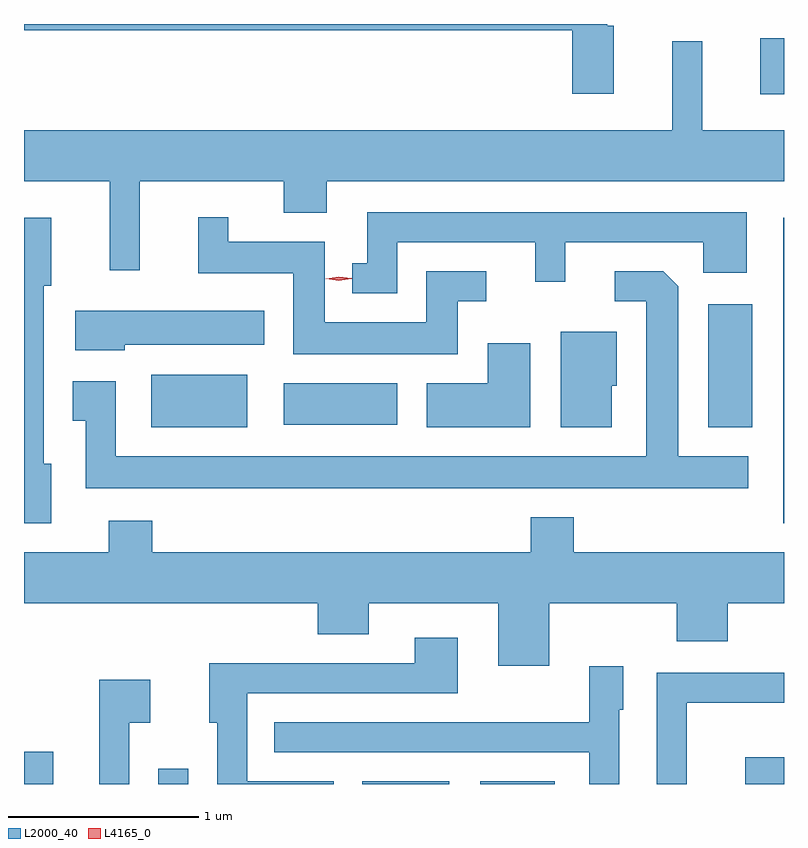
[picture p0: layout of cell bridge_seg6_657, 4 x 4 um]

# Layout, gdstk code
import gdstk
lib = gdstk.Library(unit=1e-6, precision=1e-09)
def R(c, l, rs):  # rectangles x0, y0, x1, y1
    for r in rs: c.add(gdstk.rectangle(r[:2], r[2:], *l))
def P(c, l, *ps):  # polygons
    for p in ps: c.add(gdstk.Polygon(p, *l))
L2000_40 = (2000, 40)
L4165_0 = (4165, 0)

bridge_seg6_657 = lib.new_cell('bridge_seg6_657')
R(bridge_seg6_657, L2000_40, [(303.795,1542.424,303.949,1542.594), (304.501,1542.424,304.659,1542.503), (305.576,1542.424,306.034,1542.439), (306.196,1542.424,306.589,1542.439), (307.591,1542.424,307.795,1542.564), (307.791,1543.796,307.795,1545.404), (304.466,1544.301,304.969,1544.579), (307.396,1544.301,307.629,1544.949), (305.161,1544.316,305.759,1544.534), (307.671,1546.053,307.795,1546.349)])
P(bridge_seg6_657, L2000_40, [(306.899,1546.414),(306.864,1546.414),(306.864,1546.424),(303.795,1546.424),(303.795,1546.391),(306.681,1546.391),(306.681,1546.056),(306.899,1546.056)],
  [(304.404,1545.596),(305.161,1545.596),(305.161,1545.431),(305.389,1545.431),(305.389,1545.596),(307.795,1545.596),(307.795,1545.864),(307.364,1545.864),(307.364,1546.333),(307.206,1546.333),(307.206,1545.864),(303.795,1545.864),(303.795,1545.596),(304.246,1545.596),(304.246,1545.128),(304.404,1545.128)],
  [(305.759,1545.276),(306.486,1545.276),(306.486,1545.068),(306.644,1545.068),(306.644,1545.276),(307.371,1545.276),(307.371,1545.116),(307.599,1545.116),(307.599,1545.434),(305.601,1545.434),(305.601,1545.164),(305.523,1545.164),(305.523,1545.006),(305.759,1545.006)],
  [(306.079,1544.966),(306.228,1544.966),(306.228,1545.124),(305.911,1545.124),(305.911,1544.854),(305.379,1544.854),(305.379,1545.279),(304.869,1545.279),(304.869,1545.408),(304.711,1545.408),(304.711,1545.111),(305.211,1545.111),(305.211,1544.686),(306.079,1544.686)],
  [(303.939,1544.109),(303.899,1544.109),(303.899,1545.046),(303.939,1545.046),(303.939,1545.404),(303.795,1545.404),(303.795,1543.796),(303.939,1543.796)],
  [(307.608,1544.149),(307.239,1544.149),(307.239,1545.044),(307.159,1545.124),(306.903,1545.124),(306.903,1544.966),(307.071,1544.966),(307.071,1544.149),(304.279,1544.149),(304.279,1544.544),(304.051,1544.544),(304.051,1544.336),(304.121,1544.336),(304.121,1543.981),(307.608,1543.981)],
  [(304.324,1544.736),(305.059,1544.736),(305.059,1544.914),(304.066,1544.914),(304.066,1544.706),(304.324,1544.706)],
  [(306.889,1544.521),(306.914,1544.521),(306.914,1544.804),(306.621,1544.804),(306.621,1544.301),(306.889,1544.301)],
  [(306.459,1544.744),(306.236,1544.744),(306.236,1544.534),(305.916,1544.534),(305.916,1544.301),(306.459,1544.301)],
  [(306.559,1543.376),(307.231,1543.376),(307.231,1543.176),(307.499,1543.176),(307.499,1543.376),(307.795,1543.376),(307.795,1543.644),(306.689,1543.644),(306.689,1543.829),(306.461,1543.829),(306.461,1543.644),(304.469,1543.644),(304.469,1543.809),(304.241,1543.809),(304.241,1543.644),(303.795,1543.644),(303.795,1543.376),(305.341,1543.376),(305.341,1543.211),(305.609,1543.211),(305.609,1543.376),(306.291,1543.376),(306.291,1543.046),(306.559,1543.046)],
  [(305.424,1542.439),(304.969,1542.439),(304.969,1542.901),(306.079,1542.901),(306.079,1543.194),(305.851,1543.194),(305.851,1543.059),(304.771,1543.059),(304.771,1542.746),(304.811,1542.746),(304.811,1542.424),(305.424,1542.424)],
  [(306.929,1542.816),(306.949,1542.816),(306.949,1543.044),(306.771,1543.044),(306.771,1542.749),(305.113,1542.749),(305.113,1542.591),(306.771,1542.591),(306.771,1542.424),(306.929,1542.424)],
  [(307.284,1542.851),(307.795,1542.851),(307.795,1543.009),(307.126,1543.009),(307.126,1542.424),(307.284,1542.424)],
  [(304.349,1542.746),(304.459,1542.746),(304.459,1542.974),(304.191,1542.974),(304.191,1542.424),(304.349,1542.424)])
P(bridge_seg6_657, L4165_0, [(305.452,1545.074),(305.382,1545.083),(305.382,1545.083),(305.382,1545.084),(305.452,1545.094),(305.521,1545.085),(305.521,1545.084),(305.521,1545.084)])

lib.write_gds('bridge_seg6_657.gds')
